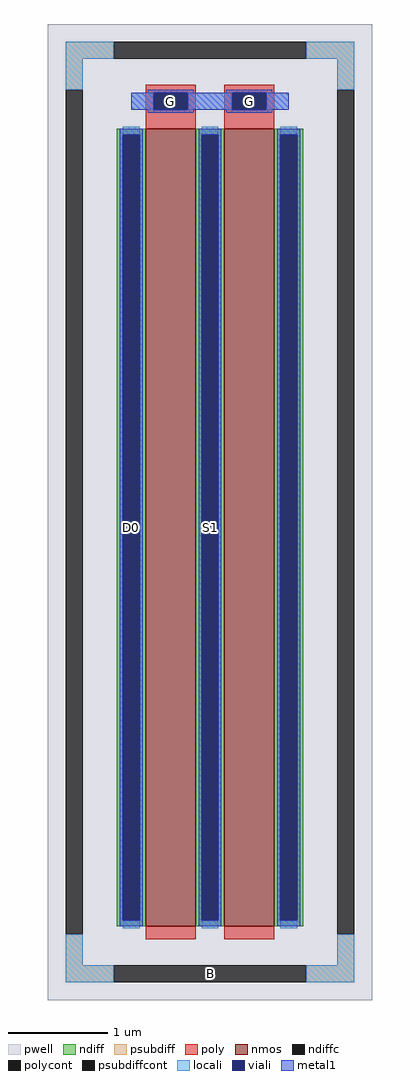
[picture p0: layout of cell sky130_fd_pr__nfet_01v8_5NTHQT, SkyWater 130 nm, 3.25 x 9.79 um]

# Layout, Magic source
magic
tech sky130A
magscale 1 2
<< pwell >>
rect -325 -979 325 979
<< nmos >>
rect -129 -831 -29 769
rect 29 -831 129 769
<< ndiff >>
rect -187 757 -129 769
rect -187 -819 -175 757
rect -141 -819 -129 757
rect -187 -831 -129 -819
rect -29 757 29 769
rect -29 -819 -17 757
rect 17 -819 29 757
rect -29 -831 29 -819
rect 129 757 187 769
rect 129 -819 141 757
rect 175 -819 187 757
rect 129 -831 187 -819
<< ndiffc >>
rect -175 -819 -141 757
rect -17 -819 17 757
rect 141 -819 175 757
<< psubdiff >>
rect -289 909 -193 943
rect 193 909 289 943
rect -289 847 -255 909
rect 255 847 289 909
rect -289 -909 -255 -847
rect 255 -909 289 -847
rect -289 -943 -193 -909
rect 193 -943 289 -909
<< psubdiffcont >>
rect -193 909 193 943
rect -289 -847 -255 847
rect 255 -847 289 847
rect -193 -943 193 -909
<< poly >>
rect -129 841 -29 857
rect -129 807 -113 841
rect -45 807 -29 841
rect -129 769 -29 807
rect 29 841 129 857
rect 29 807 45 841
rect 113 807 129 841
rect 29 769 129 807
rect -129 -857 -29 -831
rect 29 -857 129 -831
<< polycont >>
rect -113 807 -45 841
rect 45 807 113 841
<< locali >>
rect -289 909 -193 943
rect 193 909 289 943
rect -289 847 -255 909
rect 255 847 289 909
rect -158 807 -113 841
rect -45 807 45 841
rect 113 807 158 841
rect -175 757 -141 773
rect -175 -835 -141 -819
rect -17 757 17 773
rect -17 -835 17 -819
rect 141 757 175 773
rect 141 -835 175 -819
rect -289 -909 -255 -847
rect 255 -909 289 -847
rect -289 -943 -193 -909
rect 193 -943 289 -909
<< viali >>
rect -113 807 -45 841
rect 45 807 113 841
rect -175 -819 -141 757
rect -17 -819 17 757
rect 141 -819 175 757
<< metal1 >>
rect -125 841 -33 847
rect 33 841 125 847
rect -158 807 -113 841
rect -45 807 45 841
rect 113 807 158 841
rect -125 801 -33 807
rect 33 801 125 807
rect -181 757 -135 769
rect -181 -819 -175 757
rect -141 -819 -135 757
rect -181 -831 -135 -819
rect -23 757 23 769
rect -23 -819 -17 757
rect 17 -819 23 757
rect -23 -831 23 -819
rect 135 757 181 769
rect 135 -819 141 757
rect 175 -819 181 757
rect 135 -831 181 -819
<< labels >>
rlabel psubdiffcont 0 -926 0 -926 0 B
port 1 nsew
rlabel ndiffc -158 -31 -158 -31 0 D0
port 2 nsew
rlabel polycont -79 824 -79 824 0 G
port 3 nsew
rlabel ndiffc 0 -31 0 -31 0 S1
port 4 nsew
rlabel polycont 79 824 79 824 0 G
port 3 nsew
<< properties >>
string FIXED_BBOX -272 -926 272 926
string gencell sky130_fd_pr__nfet_01v8
string library sky130
string parameters w 8.0 l 0.5 m 1 nf 2 diffcov 100 polycov 100 guard 1 glc 1 grc 1 gtc 1 gbc 1 tbcov 100 rlcov 100 topc 1 botc 0 poverlap 0 doverlap 1 lmin 0.15 wmin 0.42 class mosfet compatible {sky130_fd_pr__nfet_01v8 sky130_fd_pr__nfet_01v8_lvt  sky130_fd_bs_flash__special_sonosfet_star  sky130_fd_pr__nfet_g5v0d10v5 sky130_fd_pr__nfet_05v0_nvt  sky130_fd_pr__nfet_03v3_nvt} full_metal 1 conn_gates 1 viasrc 100 viadrn 100 viagate 100 viagb 0 viagr 0 viagl 0 viagt 0 doports 1
<< end >>
